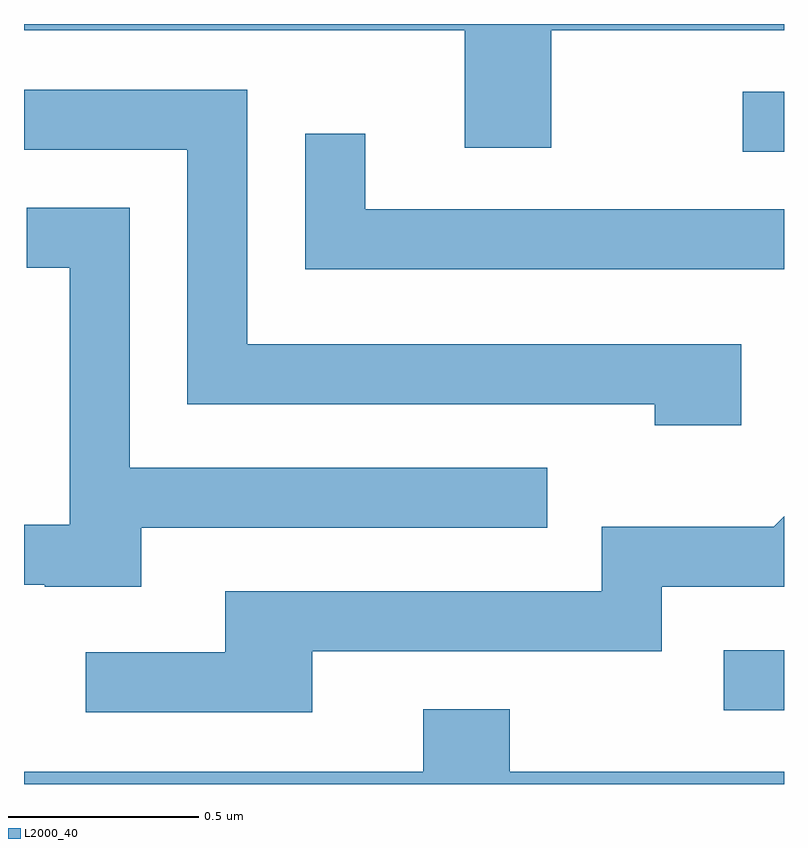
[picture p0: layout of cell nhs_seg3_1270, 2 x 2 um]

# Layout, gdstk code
import gdstk
lib = gdstk.Library(unit=1e-6, precision=1e-09)
def R(c, l, rs):  # rectangles x0, y0, x1, y1
    for r in rs: c.add(gdstk.rectangle(r[:2], r[2:], *l))
def P(c, l, *ps):  # polygons
    for p in ps: c.add(gdstk.Polygon(p, *l))
L2000_40 = (2000, 40)

nhs_seg3_1270 = lib.new_cell('nhs_seg3_1270')
R(nhs_seg3_1270, L2000_40, [(196.453,1153.086,196.611,1153.244), (196.503,1154.556,196.611,1154.714)])
P(nhs_seg3_1270, L2000_40, [(195.999,1154.876),(196.611,1154.876),(196.611,1154.892),(194.611,1154.892),(194.611,1154.876),(195.771,1154.876),(195.771,1154.566),(195.999,1154.566)],
  [(196.499,1154.049),(195.199,1154.049),(195.199,1154.719),(194.611,1154.719),(194.611,1154.561),(195.041,1154.561),(195.041,1153.891),(196.271,1153.891),(196.271,1153.836),(196.499,1153.836)],
  [(196.611,1154.404),(195.509,1154.404),(195.509,1154.603),(195.351,1154.603),(195.351,1154.246),(196.611,1154.246)],
  [(194.919,1153.566),(195.988,1153.566),(195.988,1153.724),(194.889,1153.724),(194.889,1154.409),(194.618,1154.409),(194.618,1154.251),(194.731,1154.251),(194.731,1153.574),(194.611,1153.574),(194.611,1153.416),(194.665,1153.416),(194.665,1153.411),(194.919,1153.411)],
  [(195.369,1153.241),(196.289,1153.241),(196.289,1153.411),(196.611,1153.411),(196.611,1153.596),(196.584,1153.569),(196.131,1153.569),(196.131,1153.399),(195.141,1153.399),(195.141,1153.239),(194.773,1153.239),(194.773,1153.081),(195.369,1153.081)],
  [(196.611,1152.924),(195.889,1152.924),(195.889,1153.089),(195.661,1153.089),(195.661,1152.924),(194.611,1152.924),(194.611,1152.892),(196.611,1152.892)])

lib.write_gds('nhs_seg3_1270.gds')
